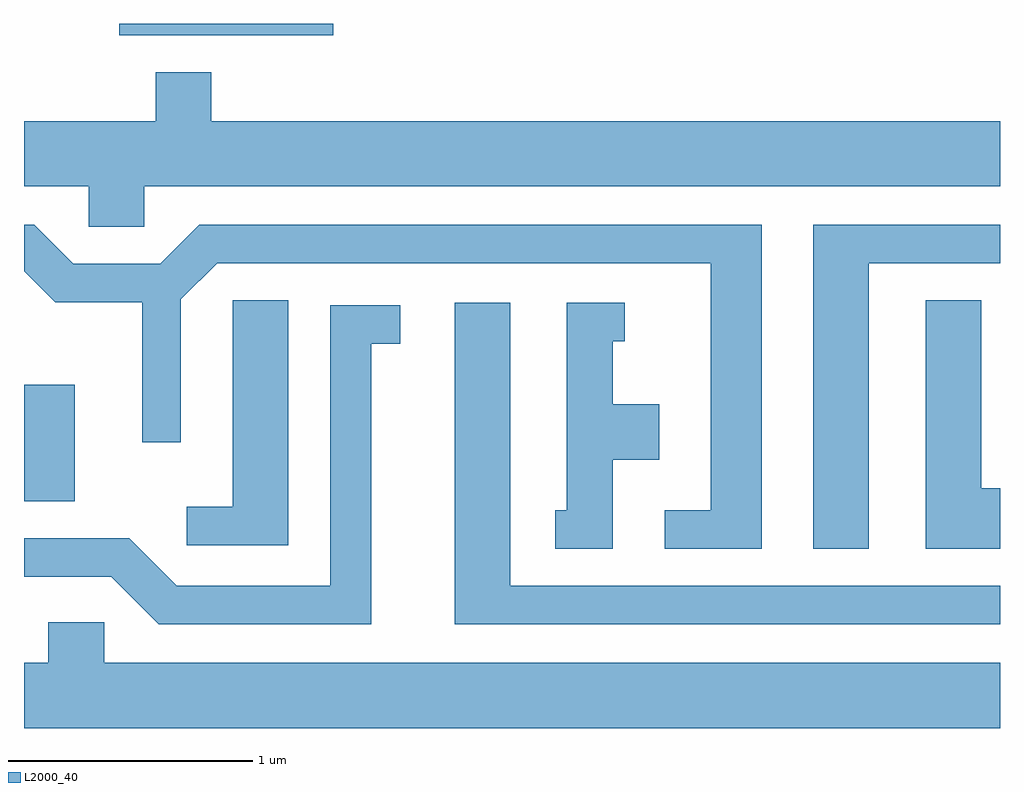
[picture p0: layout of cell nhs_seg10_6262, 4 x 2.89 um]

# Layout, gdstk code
import gdstk
lib = gdstk.Library(unit=1e-6, precision=1e-09)
def R(c, l, rs):  # rectangles x0, y0, x1, y1
    for r in rs: c.add(gdstk.rectangle(r[:2], r[2:], *l))
def P(c, l, *ps):  # polygons
    for p in ps: c.add(gdstk.Polygon(p, *l))
L2000_40 = (2000, 40)

nhs_seg10_6262 = lib.new_cell('nhs_seg10_6262')
R(nhs_seg10_6262, L2000_40, [(369.611,2172.566,369.819,2173.044), (370.001,2174.476,370.878,2174.522)])
P(nhs_seg10_6262, L2000_40, [(370.104,2173.856),(373.611,2173.856),(373.611,2174.124),(370.379,2174.124),(370.379,2174.324),(370.151,2174.324),(370.151,2174.124),(369.611,2174.124),(369.611,2173.856),(369.876,2173.856),(369.876,2173.691),(370.104,2173.691)],
  [(373.074,2173.541),(373.611,2173.541),(373.611,2173.699),(372.846,2173.699),(372.846,2172.371),(373.074,2172.371)],
  [(372.634,2173.699),(370.329,2173.699),(370.169,2173.539),(369.812,2173.539),(369.652,2173.699),(369.611,2173.699),(369.611,2173.509),(369.739,2173.381),(370.096,2173.381),(370.096,2172.808),(370.254,2172.808),(370.254,2173.394),(370.402,2173.541),(372.426,2173.541),(372.426,2172.529),(372.238,2172.529),(372.238,2172.371),(372.634,2172.371)],
  [(370.694,2173.389),(370.466,2173.389),(370.466,2172.544),(370.278,2172.544),(370.278,2172.386),(370.694,2172.386)],
  [(373.611,2172.619),(373.534,2172.619),(373.534,2173.389),(373.306,2173.389),(373.306,2172.371),(373.611,2172.371)],
  [(373.611,2172.219),(371.604,2172.219),(371.604,2173.379),(371.376,2173.379),(371.376,2172.061),(373.611,2172.061)],
  [(372.024,2172.736),(372.214,2172.736),(372.214,2172.964),(372.024,2172.964),(372.024,2173.221),(372.073,2173.221),(372.073,2173.379),(371.836,2173.379),(371.836,2172.529),(371.788,2172.529),(371.788,2172.371),(372.024,2172.371)],
  [(371.034,2173.211),(371.153,2173.211),(371.153,2173.369),(370.866,2173.369),(370.866,2172.219),(370.237,2172.219),(370.042,2172.414),(369.611,2172.414),(369.611,2172.256),(369.969,2172.256),(370.164,2172.061),(371.034,2172.061)],
  [(373.611,2171.904),(369.939,2171.904),(369.939,2172.069),(369.711,2172.069),(369.711,2171.904),(369.611,2171.904),(369.611,2171.636),(373.611,2171.636)])

lib.write_gds('nhs_seg10_6262.gds')
